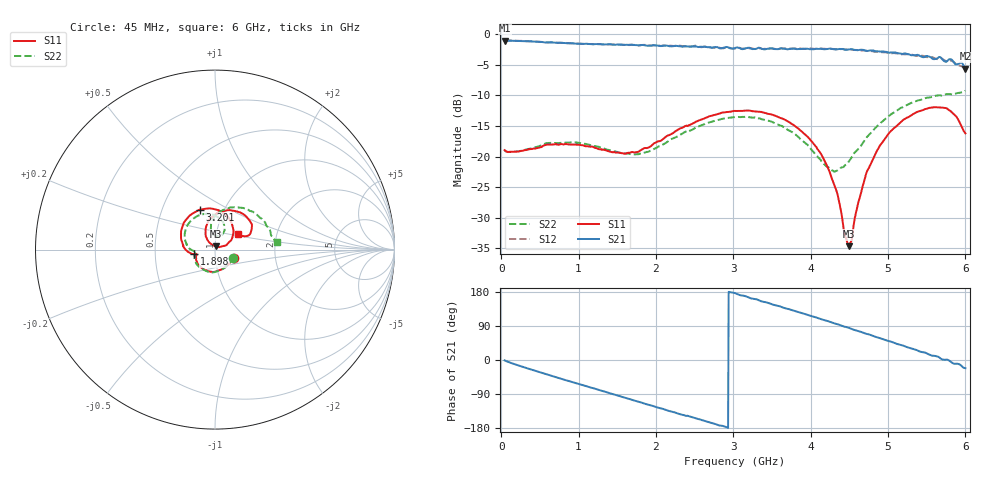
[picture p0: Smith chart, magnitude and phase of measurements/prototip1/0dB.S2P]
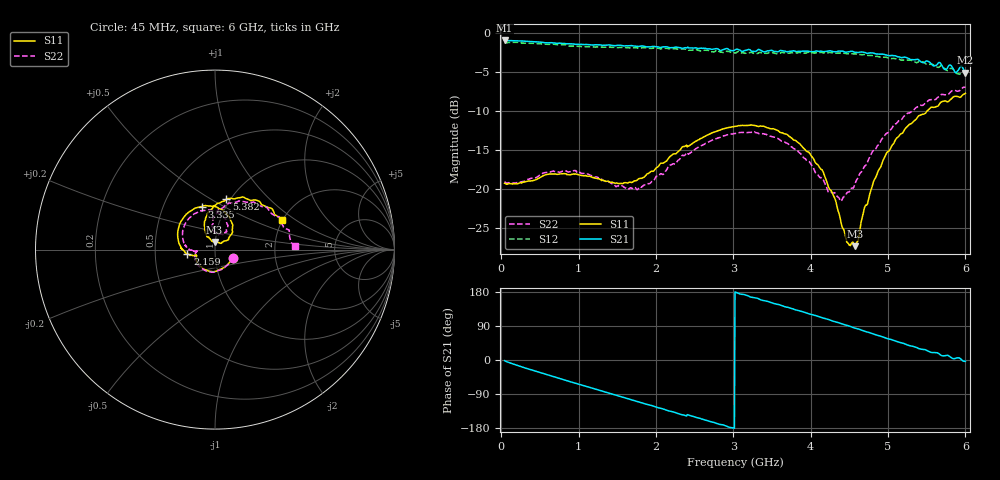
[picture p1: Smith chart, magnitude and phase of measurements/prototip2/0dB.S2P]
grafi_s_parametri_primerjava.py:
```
# narise grafe na podlagi S parametrov iz datoteke .S2P HP - VNA utility
# pip install scikit-rf

from skrf import Network
import matplotlib.pyplot as plt
from matplotlib import style

files = [
    'prototip1/0dB.S2P',
    'prototip2/0dB.S2P',
    'prototip1/10dB.S2P',
    'prototip2/10dB.S2P',
    'prototip1/20dB.S2P',
    'prototip2/20dB.S2P',
    'prototip1/30dB.S2P',
    'prototip2/30dB.S2P'
]

for file in files:
    ring_slot = Network(file)
    ring_slot.plot_s_db(m=1,n=0)

plt.title('PE43711B')
plt.legend(loc='lower left')
plt.grid(visible=True, axis='both', which='both')
plt.show()
```
measurements/prototip1/0dB.S2P:
! C:\Users\Aljaz\OneDrive - Univerza v Ljubljani\DOKTORAT\NOVI SA\Slabilec PE43711B\meritve\0dB.S2P
! Touchstone 1.1 file saved by VNA.EXE V1.65 (www.ke5fx.com/gpib/readme.htm)
! 2. 04. 2022 19:06:53
!  Source: HP8510C.07.14: Aug 26  1998
!  Min freq: 4.500000E+007 Hz
!  Max freq: 6.000000E+009 Hz
!  Points: 801
!  Params: S11 S21 S12 S22
# GHZ S DB R 50
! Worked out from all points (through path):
!   801 points, 45 MHz to 6 GHz, reference 50 ohm
!   highest |S21| = -1.03 dB at 52.44 MHz (marker M1); lowest = -5.6 dB at 6 GHz (marker M2)
!   group delay of S21, straight-line fit = 172 ps
!   lowest |S11| = -34.6 dB at 4.496 GHz (marker M3), VSWR 1.04, Z = 50.6 + j1.77 ohm
!   |S11| at or under -10 dB: start of sweep to end of sweep
!   |S22| runs from -22.5 to -9.2 dB; largest |S21 - S12| = 0.039
!   S11 on the Smith chart (normalised r, x): 45 MHz: 1.22, -0.11; 1.898 GHz: 0.79, -0.04; 3.201 GHz: 0.77, +0.36; 6 GHz: 1.28, +0.22
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0.045  -18.94 -23.9  -1.04 -0.9  -1.01 -0.9  -18.97 -24.4
0.05244375  -19.02 -22.9  -1.03 -1.7  -1.01 -1.7  -19.07 -23.6
0.968025  -18.06 -135.4  -1.53 -61.2  -1.48 -61.4  -17.68 -140.7
1.898494  -18.55 -167.3  -1.87 -117.5  -1.82 -117.4  -19.22 -175.5
3.0225  -12.52 126.2  -2.24 176.6  -2.33 176.1  -13.54 127.6
3.20115  -12.48 111.2  -2.18 165.0  -2.29 165.4  -13.54 114.0
4.049737  -18.08 37.9  -2.43 113.7  -2.39 113.2  -19.42 63.5
4.496363  -34.64 70.7  -2.48 84.8  -2.52 84.0  -20.74 98.1
5.0472  -15.72 102.7  -2.95 47.7  -3.10 48.1  -13.01 79.1
5.620369  -11.93 47.6  -4.02 10.1  -4.01 8.9  -10.05 31.6
6  -16.19 33.4  -5.61 -21.7  -5.71 -20.0  -9.23 6.6
measurements/prototip2/0dB.S2P:
! C:\Users\Aljaz\OneDrive - Univerza v Ljubljani\DOKTORAT\NOVI SA\Slabilec PE43711B\meritve\prototip2\0dB.S2P
! Touchstone 1.1 file saved by VNA.EXE V1.65 (www.ke5fx.com/gpib/readme.htm)
! 18. 04. 2022 17:56:22
!  Source: HP8510C.07.14: Aug 26  1998
!  Min freq: 4.500000E+007 Hz
!  Max freq: 6.000000E+009 Hz
!  Points: 801
!  Params: S11 S21 S12 S22
# GHZ S DB R 50
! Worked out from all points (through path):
!   801 points, 45 MHz to 6 GHz, reference 50 ohm
!   highest |S21| = -1.00 dB at 45 MHz (marker M1); lowest = -5.1 dB at 6 GHz (marker M2)
!   group delay of S21, straight-line fit = 167 ps
!   lowest |S11| = -27.4 dB at 4.571 GHz (marker M3), VSWR 1.09, Z = 49.5 + j4.25 ohm
!   |S11| at or under -10 dB: start of sweep to 5.508 GHz
!   |S22| runs from -21.6 to -7.0 dB; largest |S21 - S12| = 0.062
!   S11 on the Smith chart (normalised r, x): 45 MHz: 1.21, -0.11; 2.159 GHz: 0.73, -0.03; 3.335 GHz: 0.77, +0.40; 5.382 GHz: 0.96, +0.59; 6 GHz: 2.00, +0.78
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0.045  -19.30 -24.7  -1.00 -1.8  -1.31 -2.0  -19.08 -25.1
1.1169  -18.40 -146.2  -1.53 -70.7  -1.80 -70.7  -18.12 -155.1
2.159025  -16.16 -171.4  -1.86 -133.9  -2.04 -133.1  -17.19 -178.7
3.0225  -12.01 132.5  -2.20 179.7  -2.60 179.1  -12.91 129.5
3.335138  -12.01 107.2  -2.16 160.4  -2.55 161.4  -12.95 104.8
3.997631  -15.62 53.2  -2.42 120.9  -2.55 121.1  -16.75 61.0
4.377262  -23.56 43.5  -2.35 97.2  -2.61 97.2  -21.44 76.8
4.5708  -27.36 93.6  -2.50 84.2  -2.74 84.5  -19.47 94.3
4.957875  -15.93 111.5  -2.81 58.8  -3.14 59.7  -13.16 85.5
5.382169  -10.83 77.4  -3.41 31.8  -3.80 34.2  -9.49 51.9
6  -7.77 23.5  -5.13 -3.4  -5.28 -1.8  -7.00 2.8
